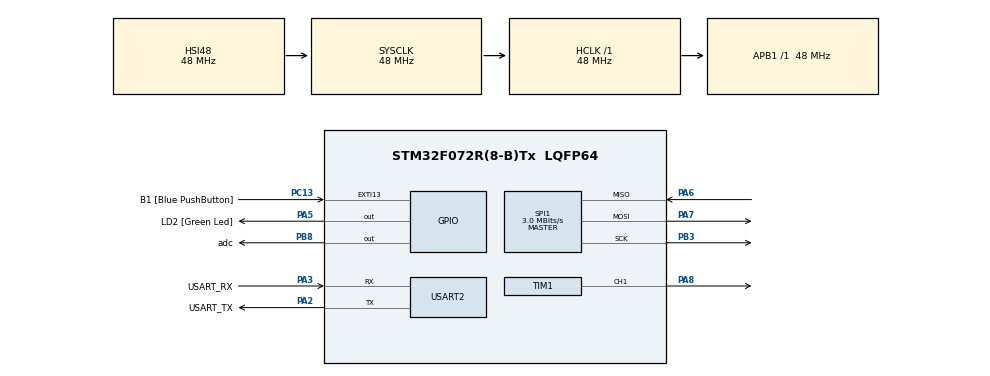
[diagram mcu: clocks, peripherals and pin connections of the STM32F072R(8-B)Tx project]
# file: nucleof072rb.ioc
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Mcu.Family=STM32F0
Mcu.Name=STM32F072R(8-B)Tx
Mcu.Package=LQFP64
PA13.GPIO_Label=TMS
PA13.Mode=Serial_Wire
PA13.Signal=SYS_SWDIO
PA14.GPIO_Label=TCK
PA14.Mode=Serial_Wire
PA14.Signal=SYS_SWCLK
PA2.GPIO_Label=USART_TX
PA2.GPIO_Mode=GPIO_MODE_AF_PP
PA2.GPIO_PuPd=GPIO_NOPULL
PA2.GPIO_Speed=GPIO_SPEED_FREQ_LOW
PA2.Mode=Asynchronous
PA2.Signal=USART2_TX
PA3.GPIO_Label=USART_RX
PA3.GPIO_Mode=GPIO_MODE_AF_PP
PA3.GPIO_PuPd=GPIO_NOPULL
PA3.GPIO_Speed=GPIO_SPEED_FREQ_LOW
PA3.Mode=Asynchronous
PA3.Signal=USART2_RX
PA5.GPIO_Label=LD2 [Green Led]
PA5.GPIO_Mode=GPIO_MODE_OUTPUT_PP
PA5.GPIO_PuPd=GPIO_NOPULL
PA5.GPIO_Speed=GPIO_SPEED_FREQ_LOW
PA5.Signal=GPIO_Output
PA6.Mode=Full_Duplex_Master
PA6.Signal=SPI1_MISO
PA7.Mode=Full_Duplex_Master
PA7.Signal=SPI1_MOSI
PA8.Signal=S_TIM1_CH1
PB3.Mode=Full_Duplex_Master
PB3.Signal=SPI1_SCK
PB8.GPIO_Label=adc
PB8.Signal=GPIO_Output
PC13.GPIO_Label=B1 [Blue PushButton]
PC13.GPIO_ModeDefaultEXTI=GPIO_MODE_IT_FALLING
PC13.Signal=GPXTI13
PC14-OSC32_IN.Mode=LSE-External-Oscillator
PC14-OSC32_IN.Signal=RCC_OSC32_IN
PC15-OSC32_OUT.Mode=LSE-External-Oscillator
PC15-OSC32_OUT.Signal=RCC_OSC32_OUT
PF0-OSC_IN.Mode=HSE-External-Clock-Source
PF0-OSC_IN.Signal=RCC_OSC_IN
PF1-OSC_OUT.Signal=RCC_OSC_OUT
ProjectManager.HeapSize=0x200
ProjectManager.StackSize=0x400
ProjectManager.TargetToolchain=STM32CubeIDE
RCC.AHBFreq_Value=48000000
RCC.APB1Freq_Value=48000000
RCC.APB1TimFreq_Value=48000000
RCC.FLatency-AdvancedSettings=FLASH_LATENCY_1
RCC.HCLKFreq_Value=48000000
RCC.PLLDivider=RCC_PREDIV_DIV2
RCC.PLLMUL=RCC_PLL_MUL12
RCC.PREFETCH_ENABLE-AdvancedSettings=1
RCC.SYSCLKFreq_VALUE=48000000
RCC.SYSCLKSource=RCC_SYSCLKSOURCE_HSI48
SH.S_TIM1_CH1.0=TIM1_CH1,PWM Generation1 CH1
SPI1.BaudRatePrescaler=SPI_BAUDRATEPRESCALER_16
SPI1.CalculateBaudRate=3.0 MBits/s
SPI1.DataSize=SPI_DATASIZE_8BIT
SPI1.Direction=SPI_DIRECTION_2LINES
SPI1.Mode=SPI_MODE_MASTER
SPI1.VirtualType=VM_MASTER
TIM1.AutoReloadPreload=TIM_AUTORELOAD_PRELOAD_DISABLE
TIM1.Channel-PWM\ Generation1\ CH1=TIM_CHANNEL_1
TIM1.Period=19999
TIM1.Prescaler=47
USART2.VirtualMode=VM_ASYNC
USART2.VirtualMode-Asynchronous=VM_ASYNC
VP_TIM1_VS_ClockSourceINT.Mode=Internal
board=NUCLEO-F072RB

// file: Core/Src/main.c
/* USER CODE BEGIN Header */
/**
  ******************************************************************************
  * @file           : main.c
  * @brief          : Main program body
  ******************************************************************************
  * @attention
  *
  * <h2><center>&copy; Copyright (c) 2026 STMicroelectronics.
  * All rights reserved.</center></h2>
  *
  * This software component is licensed by ST under BSD 3-Clause license,
  * the "License"; You may not use this file except in compliance with the
  * License. You may obtain a copy of the License at:
  *                        opensource.org/licenses/BSD-3-Clause
  *
  ******************************************************************************
  */
/* USER CODE END Header */
#include "main.h"
#include "spi.h"
#include "tim.h"
#include "usart.h"
#include "gpio.h"

/* USER CODE BEGIN PV */
uint8_t txBuf[3];
uint8_t rxBuf[3];
uint16_t adc_value;
uint32_t ADC_MAX = 1023U; //max because ADC has 10 bits 2^10 = 1024, -1 = 1023
uint32_t PWM_MAX = 999U; //tim ARR
uint32_t PWM_MIN = 0U;

/* USER CODE END PV */

void SystemClock_Config(void);

int main(void)
{

  /* MCU Configuration--------------------------------------------------------*/

  /* Reset of all peripherals, Initializes the Flash interface and the Systick. */
  HAL_Init();

  /* Configure the system clock */
  SystemClock_Config();

  /* Initialize all configured peripherals */
  MX_GPIO_Init();
  MX_USART2_UART_Init();
  MX_SPI1_Init();
  MX_TIM1_Init();
  /* USER CODE BEGIN 2 */
  //Sends the bits 00000001 10000000 00000000
  //Necessary to configure ADC
  //
  txBuf[0] = 0x01;
  txBuf[1] = 0x80;
  txBuf[2] = 0x00;

  /* USER CODE END 2 */

  /* Infinite loop */
  /* USER CODE BEGIN WHILE */
  while (1)
  {
	  HAL_GPIO_WritePin(adc_GPIO_Port, adc_Pin, GPIO_PIN_RESET); //turn on

	  HAL_SPI_TransmitReceive(&hspi1, txBuf, rxBuf, 3, HAL_MAX_DELAY);

	  HAL_GPIO_WritePin(adc_GPIO_Port, adc_Pin, GPIO_PIN_SET); //turn off

	  adc_value = ((rxBuf[1] & 0x03) << 8) | rxBuf[2]; // extract bits, ignore garbage

	  float ratio = (float)adc_value / (float)ADC_MAX;

	  uint32_t pwm_value = (uint32_t)(ratio * (PWM_MAX - PWM_MIN)) + PWM_MIN;

	  __HAL_TIM_SET_COMPARE(&htim1, TIM_CHANNEL_1, pwm_value);

	  HAL_Delay(10);
    /* USER CODE END WHILE */

  }
}

void SystemClock_Config(void)
{
  RCC_OscInitTypeDef RCC_OscInitStruct = {0};
  RCC_ClkInitTypeDef RCC_ClkInitStruct = {0};
  RCC_PeriphCLKInitTypeDef PeriphClkInit = {0};

  /** Initializes the RCC Oscillators according to the specified parameters
  * in the RCC_OscInitTypeDef structure.
  */
  RCC_OscInitStruct.OscillatorType = RCC_OSCILLATORTYPE_HSI48;
  RCC_OscInitStruct.HSI48State = RCC_HSI48_ON;
  RCC_OscInitStruct.PLL.PLLState = RCC_PLL_NONE;
  if (HAL_RCC_OscConfig(&RCC_OscInitStruct) != HAL_OK)
  {
    Error_Handler();
  }
  /** Initializes the CPU, AHB and APB buses clocks
  */
  RCC_ClkInitStruct.ClockType = RCC_CLOCKTYPE_HCLK|RCC_CLOCKTYPE_SYSCLK
                              |RCC_CLOCKTYPE_PCLK1;
  RCC_ClkInitStruct.SYSCLKSource = RCC_SYSCLKSOURCE_HSI48;
  RCC_ClkInitStruct.AHBCLKDivider = RCC_SYSCLK_DIV1;
  RCC_ClkInitStruct.APB1CLKDivider = RCC_HCLK_DIV1;

  if (HAL_RCC_ClockConfig(&RCC_ClkInitStruct, FLASH_LATENCY_1) != HAL_OK)
  {
    Error_Handler();
  }
  PeriphClkInit.PeriphClockSelection = RCC_PERIPHCLK_USART2;
  PeriphClkInit.Usart2ClockSelection = RCC_USART2CLKSOURCE_PCLK1;
  if (HAL_RCCEx_PeriphCLKConfig(&PeriphClkInit) != HAL_OK)
  {
    Error_Handler();
  }
}

void Error_Handler(void)
{
  __disable_irq();
  while (1)
  {
  }
}

/************************ (C) COPYRIGHT STMicroelectronics *****END OF FILE****/
